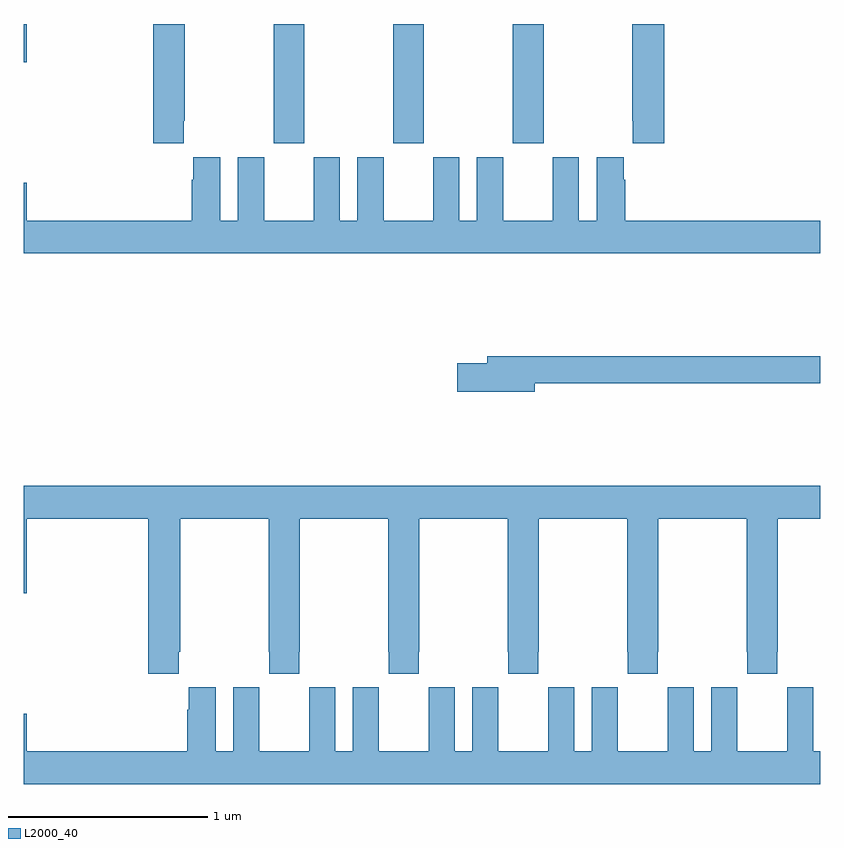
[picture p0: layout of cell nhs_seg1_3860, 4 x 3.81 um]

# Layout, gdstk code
import gdstk
lib = gdstk.Library(unit=1e-6, precision=1e-09)
def R(c, l, rs):  # rectangles x0, y0, x1, y1
    for r in rs: c.add(gdstk.rectangle(r[:2], r[2:], *l))
def A(c, l, x, y, w, h, nx, ny, dx, dy):  # array of equal rectangles
    R(c, l, [(x+i*dx, y+j*dy, x+i*dx+w, y+j*dy+h) for i in range(nx) for j in range(ny)])
def P(c, l, *ps):  # polygons
    for p in ps: c.add(gdstk.Polygon(p, *l))
L2000_40 = (2000, 40)

nhs_seg1_3860 = lib.new_cell('nhs_seg1_3860')
A(nhs_seg1_3860, L2000_40, 322.255, 569.601, 0.155, 0.598, 3, 1, 0.6, 0)
R(nhs_seg1_3860, L2000_40, [(321,570.006,321.016,570.199)])
P(nhs_seg1_3860, L2000_40, [(324.215,570.199),(324.055,570.199),(324.055,569.713),(324.059,569.713),(324.059,569.601),(324.215,569.601)],
  [(321.805,569.713),(321.81,569.713),(321.81,570.199),(321.65,570.199),(321.65,569.601),(321.805,569.601)],
  [(325,569.212),(324.02,569.212),(324.02,569.417),(324.013,569.417),(324.013,569.53),(323.876,569.53),(323.876,569.212),(323.788,569.212),(323.788,569.53),(323.657,569.53),(323.657,569.212),(323.407,569.212),(323.407,569.53),(323.276,569.53),(323.276,569.212),(323.188,569.212),(323.188,569.53),(323.057,569.53),(323.057,569.212),(322.807,569.212),(322.807,569.53),(322.676,569.53),(322.676,569.212),(322.588,569.212),(322.588,569.53),(322.457,569.53),(322.457,569.212),(322.207,569.212),(322.207,569.53),(322.076,569.53),(322.076,569.212),(321.988,569.212),(321.988,569.53),(321.851,569.53),(321.851,569.417),(321.845,569.417),(321.845,569.212),(321.016,569.212),(321.016,569.401),(321,569.401),(321,569.048),(325,569.048)],
  [(323.566,568.396),(325,568.396),(325,568.532),(323.327,568.532),(323.327,568.496),(323.178,568.496),(323.178,568.354),(323.566,568.354)],
  [(321,567.342),(321.016,567.342),(321.016,567.716),(321.626,567.716),(321.626,566.937),(321.779,566.937),(321.779,567.049),(321.786,567.049),(321.786,567.716),(322.231,567.716),(322.231,567.049),(322.233,567.049),(322.233,566.937),(322.383,566.937),(322.383,567.049),(322.386,567.049),(322.386,567.716),(322.831,567.716),(322.831,567.049),(322.833,567.049),(322.833,566.937),(322.983,566.937),(322.983,567.049),(322.986,567.049),(322.986,567.716),(323.431,567.716),(323.431,567.049),(323.433,567.049),(323.433,566.937),(323.583,566.937),(323.583,567.049),(323.586,567.049),(323.586,567.716),(324.031,567.716),(324.031,567.049),(324.033,567.049),(324.033,566.937),(324.183,566.937),(324.183,567.049),(324.186,567.049),(324.186,567.716),(324.631,567.716),(324.631,567.049),(324.633,567.049),(324.633,566.937),(324.783,566.937),(324.783,567.049),(324.786,567.049),(324.786,567.716),(325,567.716),(325,567.88),(321,567.88)],
  [(325,566.548),(324.964,566.548),(324.964,566.869),(324.834,566.869),(324.834,566.756),(324.833,566.756),(324.833,566.548),(324.583,566.548),(324.583,566.756),(324.582,566.756),(324.582,566.869),(324.452,566.869),(324.452,566.548),(324.364,566.548),(324.364,566.869),(324.234,566.869),(324.234,566.756),(324.233,566.756),(324.233,566.548),(323.983,566.548),(323.983,566.756),(323.982,566.756),(323.982,566.869),(323.852,566.869),(323.852,566.548),(323.764,566.548),(323.764,566.869),(323.634,566.869),(323.634,566.756),(323.633,566.756),(323.633,566.548),(323.383,566.548),(323.383,566.756),(323.382,566.756),(323.382,566.869),(323.252,566.869),(323.252,566.548),(323.164,566.548),(323.164,566.869),(323.034,566.869),(323.034,566.756),(323.033,566.756),(323.033,566.548),(322.783,566.548),(322.783,566.756),(322.782,566.756),(322.782,566.869),(322.652,566.869),(322.652,566.548),(322.564,566.548),(322.564,566.869),(322.434,566.869),(322.434,566.756),(322.433,566.756),(322.433,566.548),(322.183,566.548),(322.183,566.756),(322.182,566.756),(322.182,566.869),(322.052,566.869),(322.052,566.548),(321.964,566.548),(321.964,566.869),(321.83,566.869),(321.83,566.756),(321.821,566.756),(321.821,566.548),(321.016,566.548),(321.016,566.737),(321,566.737),(321,566.384),(325,566.384)])

lib.write_gds('nhs_seg1_3860.gds')
